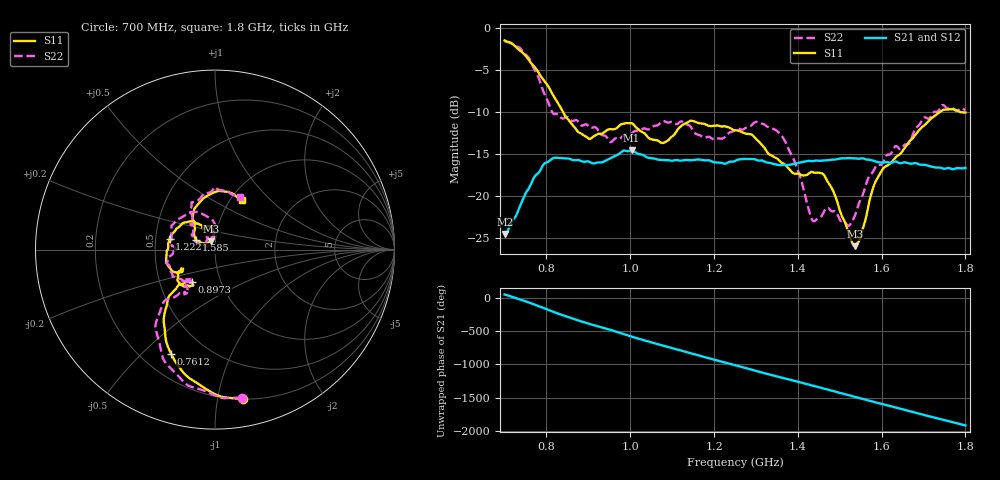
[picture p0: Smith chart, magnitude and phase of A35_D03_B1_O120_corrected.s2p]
! Created with skrf 1.9.0 (http://scikit-rf.org).
# Hz S RI R 50.0
!freq ReS11 ImS11 ReS21 ImS21 ReS12 ImS12 ReS22 ImS22
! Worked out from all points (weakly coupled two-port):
!   1601 points, 700 MHz to 1.8 GHz, reference 50 ohm
!   highest |S21| = -14.58 dB at 1.003 GHz (marker M1); lowest = -24.6 dB at 700.7 MHz (marker M2)
!   lowest |S11| = -26.0 dB at 1.536 GHz (marker M3), VSWR 1.11, Z = 47.8 + j4.34 ohm
!   |S11| at or under -10 dB: 839.3 MHz to 1.739 GHz (899.5 MHz wide, 69.8 % of centre); 1.788 GHz to end of sweep
!   |S22| runs from -23.6 to -1.5 dB; largest |S21 - S12| = 0.0035
!   S11 on the Smith chart (normalised r, x): 700 MHz: 0.20, -1.19; 761.2 MHz: 0.32, -0.62; 897.3 MHz: 0.72, -0.28; 1.222 GHz: 0.59, +0.07; 1.585 GHz: 0.80, +0.09; 1.8 GHz: 1.13, +0.69
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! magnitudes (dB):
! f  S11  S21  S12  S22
! 700 MHz  -1.4  -24.5  -24.3  -1.5
! 700.7 MHz  -1.4  -24.6  -24.3  -1.5
! 761.2 MHz  -4.0  -18.8  -18.7  -3.8
! 814.8 MHz  -7.9  -15.5  -15.6  -10.1
! 883.6 MHz  -12.6  -15.9  -15.8  -11.6
! 897.3 MHz  -13.0  -15.9  -16.0  -11.5
! 953 MHz  -12.0  -15.5  -15.5  -13.6
! 1.003 GHz  -11.3  -14.6  -14.7  -12.6
! 1.067 GHz  -13.4  -15.7  -15.6  -11.5
! 1.143 GHz  -11.0  -15.8  -15.7  -11.7
! 1.222 GHz  -11.7  -16.1  -16.2  -13.1
! 1.25 GHz  -12.2  -15.8  -15.8  -12.1
! 1.357 GHz  -15.9  -16.3  -16.3  -12.6
! 1.396 GHz  -17.4  -16.1  -16.1  -16.4
! 1.434 GHz  -17.1  -15.9  -15.8  -22.8
! 1.479 GHz  -18.9  -15.7  -15.7  -21.8
! 1.52 GHz  -24.3  -15.5  -15.5  -23.6
! 1.536 GHz  -26.0  -15.5  -15.5  -22.4
! 1.585 GHz  -18.4  -15.9  -15.9  -16.6
! 1.617 GHz  -16.3  -16.0  -16.0  -15.1
! 1.74 GHz  -10.0  -16.6  -16.7  -9.5
! 1.8 GHz  -10.1  -16.7  -16.7  -9.8
